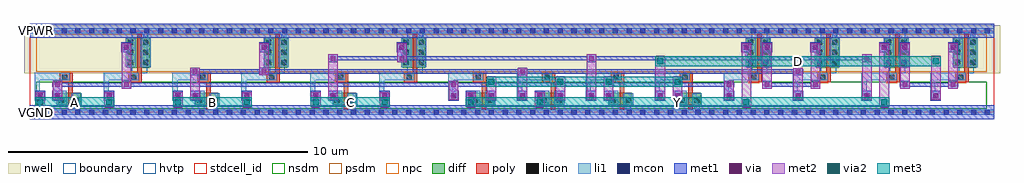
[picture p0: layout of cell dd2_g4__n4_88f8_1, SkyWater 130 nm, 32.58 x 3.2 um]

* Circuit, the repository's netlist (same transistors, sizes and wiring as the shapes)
* Generated reference circuit; dimensions in micrometers.
.subckt dd2_g4__n4_88f8_1 A B C D VGND VNB VPB VPWR Y
XM0 _net1 A VGND VNB sky130_fd_pr__nfet_01v8 w=0.420 l=0.150
XM1 _net1 A VPWR VPB sky130_fd_pr__pfet_01v8_hvt w=1.000 l=0.150
XM2 _net2 B VGND VNB sky130_fd_pr__nfet_01v8 w=0.420 l=0.150
XM3 _net2 B VPWR VPB sky130_fd_pr__pfet_01v8_hvt w=1.000 l=0.150
XM4 _net3 C VGND VNB sky130_fd_pr__nfet_01v8 w=0.420 l=0.150
XM5 _net3 C VPWR VPB sky130_fd_pr__pfet_01v8_hvt w=1.000 l=0.150
XM6 Y _net1 _net4 VNB sky130_fd_pr__nfet_01v8 w=0.420 l=0.150
XM7 Y _net2 _net4 VNB sky130_fd_pr__nfet_01v8 w=0.420 l=0.150
XM8 _net4 _net3 VGND VNB sky130_fd_pr__nfet_01v8 w=0.420 l=0.150
XM9 _net4 D VGND VNB sky130_fd_pr__nfet_01v8 w=0.420 l=0.150
XM10 Y _net1 _net5 VPB sky130_fd_pr__pfet_01v8_hvt w=1.000 l=0.150
XM11 _net5 _net2 VPWR VPB sky130_fd_pr__pfet_01v8_hvt w=1.000 l=0.150
XM12 Y _net3 _net6 VPB sky130_fd_pr__pfet_01v8_hvt w=1.000 l=0.150
XM13 _net6 D VPWR VPB sky130_fd_pr__pfet_01v8_hvt w=1.000 l=0.150
.ends dd2_g4__n4_88f8_1

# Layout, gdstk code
import gdstk
lib = gdstk.Library(unit=1e-6, precision=1e-09)
def R(c, l, rs):  # rectangles x0, y0, x1, y1
    for r in rs: c.add(gdstk.rectangle(r[:2], r[2:], *l))
def A(c, l, x, y, w, h, nx, ny, dx, dy):  # array of equal rectangles
    R(c, l, [(x+i*dx, y+j*dy, x+i*dx+w, y+j*dy+h) for i in range(nx) for j in range(ny)])
nwell = (64, 20)
diff = (65, 20)
poly = (66, 20)
licon = (66, 44)
li1 = (67, 20)
mcon = (67, 44)
met1 = (68, 20)
via = (68, 44)
met2 = (69, 20)
via2 = (69, 44)
met3 = (70, 20)
hvtp = (78, 44)
stdcell_id = (81, 4)
nsdm = (93, 44)
psdm = (94, 20)
npc = (95, 20)
boundary = (235, 4)

dd2_g4__n4_88f8_1 = lib.new_cell('dd2_g4__n4_88f8_1')
R(dd2_g4__n4_88f8_1, nwell, [(-0.19,1.305,32.39,2.91)])
A(dd2_g4__n4_88f8_1, diff, 0.95, 0.235, 0.75, 0.42, 4, 1, 4.6, 0)
A(dd2_g4__n4_88f8_1, diff, 17.05, 0.235, 0.75, 0.42, 3, 1, 2.3, 0)
A(dd2_g4__n4_88f8_1, diff, 3.25, 1.485, 0.75, 1, 3, 1, 4.6, 0)
A(dd2_g4__n4_88f8_1, diff, 23.95, 1.485, 0.75, 1, 4, 1, 2.3, 0)
A(dd2_g4__n4_88f8_1, poly, 1.29, 0.105, 0.15, 1.22, 4, 1, 4.6, 0)
A(dd2_g4__n4_88f8_1, poly, 17.39, 0.105, 0.15, 1.22, 3, 1, 2.3, 0)
A(dd2_g4__n4_88f8_1, poly, 1.01, 0.995, 0.43, 0.33, 14, 1, 2.3, 0)
A(dd2_g4__n4_88f8_1, poly, 3.59, 0.995, 0.15, 1.62, 3, 1, 4.6, 0)
A(dd2_g4__n4_88f8_1, poly, 24.29, 0.995, 0.15, 1.62, 4, 1, 2.3, 0)
A(dd2_g4__n4_88f8_1, licon, 1.09, 1.075, 0.17, 0.17, 14, 1, 2.3, 0)
A(dd2_g4__n4_88f8_1, licon, 3.29, 1.575, 0.17, 0.17, 1, 3, 0, 0.34)
A(dd2_g4__n4_88f8_1, licon, 3.79, 1.575, 0.17, 0.17, 1, 3, 0, 0.34)
A(dd2_g4__n4_88f8_1, licon, 7.89, 1.575, 0.17, 0.17, 1, 3, 0, 0.34)
A(dd2_g4__n4_88f8_1, licon, 8.39, 1.575, 0.17, 0.17, 1, 3, 0, 0.34)
A(dd2_g4__n4_88f8_1, licon, 12.49, 1.575, 0.17, 0.17, 1, 3, 0, 0.34)
A(dd2_g4__n4_88f8_1, licon, 12.99, 1.575, 0.17, 0.17, 1, 3, 0, 0.34)
A(dd2_g4__n4_88f8_1, licon, 23.99, 1.575, 0.17, 0.17, 1, 3, 0, 0.34)
A(dd2_g4__n4_88f8_1, licon, 24.49, 1.575, 0.17, 0.17, 1, 3, 0, 0.34)
A(dd2_g4__n4_88f8_1, licon, 26.29, 1.575, 0.17, 0.17, 1, 3, 0, 0.34)
A(dd2_g4__n4_88f8_1, licon, 26.79, 1.575, 0.17, 0.17, 1, 3, 0, 0.34)
A(dd2_g4__n4_88f8_1, licon, 28.59, 1.575, 0.17, 0.17, 1, 3, 0, 0.34)
A(dd2_g4__n4_88f8_1, licon, 29.09, 1.575, 0.17, 0.17, 1, 3, 0, 0.34)
A(dd2_g4__n4_88f8_1, licon, 30.89, 1.575, 0.17, 0.17, 1, 3, 0, 0.34)
A(dd2_g4__n4_88f8_1, licon, 31.39, 1.575, 0.17, 0.17, 1, 3, 0, 0.34)
R(dd2_g4__n4_88f8_1, licon, [(0.99,0.315,1.16,0.485), (1.49,0.315,1.66,0.485), (5.59,0.315,5.76,0.485), (6.09,0.315,6.26,0.485), (10.19,0.315,10.36,0.485), (10.69,0.315,10.86,0.485), (14.79,0.315,14.96,0.485), (15.29,0.315,15.46,0.485), (17.09,0.315,17.26,0.485), (17.59,0.315,17.76,0.485), (19.39,0.315,19.56,0.485), (19.89,0.315,20.06,0.485), (21.69,0.315,21.86,0.485), (22.19,0.315,22.36,0.485)])
A(dd2_g4__n4_88f8_1, li1, 1.49, -0.085, 0.17, 0.72, 3, 1, 4.6, 0)
A(dd2_g4__n4_88f8_1, li1, 0.165, 0.38, 0.17, 0.935, 14, 1, 2.3, 0)
A(dd2_g4__n4_88f8_1, li1, 0.76, 0.38, 0.48, 0.33, 4, 1, 4.6, 0)
A(dd2_g4__n4_88f8_1, li1, 16.86, 0.38, 0.48, 0.33, 3, 1, 2.3, 0)
A(dd2_g4__n4_88f8_1, li1, 23.185, 0.38, 0.33, 0.33, 4, 1, 2.3, 0)
A(dd2_g4__n4_88f8_1, li1, 0.165, 1.075, 1.175, 0.24, 14, 1, 2.3, 0)
A(dd2_g4__n4_88f8_1, li1, 3.79, 1.505, 0.17, 1.3, 3, 1, 4.6, 0)
A(dd2_g4__n4_88f8_1, li1, 3.06, 2.01, 0.33, 0.33, 3, 1, 4.6, 0)
A(dd2_g4__n4_88f8_1, li1, 3.06, 2.01, 0.48, 0.33, 3, 1, 4.6, 0)
A(dd2_g4__n4_88f8_1, li1, 23.76, 2.01, 0.48, 0.33, 4, 1, 2.3, 0)
R(dd2_g4__n4_88f8_1, li1, [(0,-0.085,32.2,0.085), (19.89,-0.085,20.06,0.635), (22.19,-0.085,22.36,0.635), (0.91,0.255,1.24,0.635), (1.41,0.255,1.74,0.635), (5.51,0.255,5.84,0.635), (6.01,0.255,6.34,0.635), (10.11,0.255,10.44,0.635), (10.61,0.255,10.94,0.635), (14.71,0.255,15.04,0.635), (15.21,0.255,15.54,0.635), (17.01,0.255,17.34,0.635), (17.51,0.255,17.84,0.635), (19.31,0.255,19.64,0.635), (19.81,0.255,20.14,0.635), (21.61,0.255,21.94,0.635), (22.11,0.255,22.44,0.635), (0.185,0.38,0.515,0.71), (0.76,0.38,1.09,0.71), (2.485,0.38,2.815,0.71), (4.785,0.38,5.115,0.71), (5.36,0.38,5.69,0.71), (7.085,0.38,7.415,0.71), (9.385,0.38,9.715,0.71), (9.96,0.38,10.29,0.71), (11.685,0.38,12.015,0.71), (13.985,0.38,14.315,0.71), (14.56,0.38,14.89,0.71), (15.21,0.38,15.58,0.71), (15.25,0.38,15.58,0.71), (16.285,0.38,16.615,0.71), (16.86,0.38,17.19,0.71), (17.51,0.38,17.88,0.71), (17.55,0.38,17.88,0.71), (18.585,0.38,18.915,0.71), (19.16,0.38,19.49,0.71), (20.885,0.38,21.215,0.71), (21.46,0.38,21.79,0.71), (3.21,1.505,3.54,2.465), (3.71,1.505,4.04,2.465), (7.81,1.505,8.14,2.465), (8.31,1.505,8.64,2.465), (12.41,1.505,12.74,2.465), (12.91,1.505,13.24,2.465), (23.91,1.505,24.24,2.465), (24.41,1.505,24.74,2.465), (26.21,1.505,26.54,2.465), (26.71,1.505,27.04,2.465), (26.79,1.505,26.96,2.805), (28.51,1.505,28.84,2.465), (29.01,1.505,29.34,2.465), (30.81,1.505,31.14,2.465), (31.31,1.505,31.64,2.465), (31.39,1.505,31.56,2.805), (23.76,2.01,24.09,2.34), (24.41,2.01,24.78,2.34), (24.45,2.01,24.78,2.34), (26.06,2.01,26.39,2.34), (28.36,2.01,28.69,2.34), (29.01,2.01,29.38,2.34), (29.05,2.01,29.38,2.34), (30.66,2.01,30.99,2.34), (0,2.635,32.2,2.805)])
A(dd2_g4__n4_88f8_1, mcon, 0.145, -0.085, 0.17, 0.17, 70, 2, 0.46, 2.72)
A(dd2_g4__n4_88f8_1, mcon, 23.265, 0.46, 0.17, 0.17, 4, 1, 2.3, 0)
A(dd2_g4__n4_88f8_1, mcon, 3.14, 2.09, 0.17, 0.17, 3, 1, 4.6, 0)
R(dd2_g4__n4_88f8_1, mcon, [(0.265,0.46,0.435,0.63), (0.84,0.46,1.01,0.63), (2.565,0.46,2.735,0.63), (4.865,0.46,5.035,0.63), (5.44,0.46,5.61,0.63), (7.165,0.46,7.335,0.63), (9.465,0.46,9.635,0.63), (10.04,0.46,10.21,0.63), (11.765,0.46,11.935,0.63), (14.065,0.46,14.235,0.63), (14.64,0.46,14.81,0.63), (15.33,0.46,15.5,0.63), (16.365,0.46,16.535,0.63), (16.94,0.46,17.11,0.63), (17.63,0.46,17.8,0.63), (18.665,0.46,18.835,0.63), (19.24,0.46,19.41,0.63), (20.965,0.46,21.135,0.63), (21.54,0.46,21.71,0.63), (23.84,2.09,24.01,2.26), (24.53,2.09,24.7,2.26), (26.14,2.09,26.31,2.26), (28.44,2.09,28.61,2.26), (29.13,2.09,29.3,2.26), (30.74,2.09,30.91,2.26)])
A(dd2_g4__n4_88f8_1, met1, 23.185, 0.38, 0.33, 0.33, 4, 1, 2.3, 0)
A(dd2_g4__n4_88f8_1, met1, 3.06, 2.01, 0.33, 0.33, 3, 1, 4.6, 0)
R(dd2_g4__n4_88f8_1, met1, [(0,-0.24,32.2,0.24), (0.185,0.38,0.515,0.71), (0.76,0.38,1.09,0.71), (2.485,0.38,2.815,0.71), (4.785,0.38,5.115,0.71), (5.36,0.38,5.69,0.71), (7.085,0.38,7.415,0.71), (9.385,0.38,9.715,0.71), (9.96,0.38,10.29,0.71), (11.685,0.38,12.015,0.71), (13.985,0.38,14.315,0.71), (14.56,0.38,14.89,0.71), (15.25,0.38,15.58,0.71), (16.285,0.38,16.615,0.71), (16.86,0.38,17.19,0.71), (17.55,0.38,17.88,0.71), (18.585,0.38,18.915,0.71), (19.16,0.38,19.49,0.71), (20.885,0.38,21.215,0.71), (21.46,0.38,21.79,0.71), (0.765,0.545,1.085,0.92), (13.99,0.545,14.31,0.92), (23.19,0.545,23.51,0.92), (0.765,0.79,1.085,1.05), (3.065,0.79,3.385,1.05), (13.99,0.79,14.31,1.05), (23.19,0.79,23.51,1.05), (24.455,0.79,24.775,1.05), (26.065,0.79,26.385,1.05), (29.055,0.79,29.375,1.05), (30.665,0.79,30.985,1.05), (0.76,0.85,23.515,0.99), (24.45,0.85,26.39,0.99), (29.05,0.85,30.99,0.99), (5.365,1.23,5.685,1.49), (7.665,1.23,7.985,1.49), (16.29,1.23,16.61,1.49), (25.49,1.23,25.81,1.49), (5.36,1.29,25.815,1.43), (9.965,1.67,10.285,1.93), (12.265,1.67,12.585,1.93), (18.59,1.67,18.91,1.93), (27.79,1.67,28.11,1.93), (9.96,1.73,28.115,1.87), (12.265,1.8,12.585,2.175), (23.76,2.01,24.09,2.34), (24.45,2.01,24.78,2.34), (26.06,2.01,26.39,2.34), (28.36,2.01,28.69,2.34), (29.05,2.01,29.38,2.34), (30.66,2.01,30.99,2.34), (0,2.48,32.2,2.96)])
A(dd2_g4__n4_88f8_1, via, 23.275, 0.47, 0.15, 0.15, 4, 1, 2.3, 0)
A(dd2_g4__n4_88f8_1, via, 3.15, 2.1, 0.15, 0.15, 3, 1, 4.6, 0)
R(dd2_g4__n4_88f8_1, via, [(0.275,0.47,0.425,0.62), (0.85,0.47,1,0.62), (2.575,0.47,2.725,0.62), (4.875,0.47,5.025,0.62), (5.45,0.47,5.6,0.62), (7.175,0.47,7.325,0.62), (9.475,0.47,9.625,0.62), (10.05,0.47,10.2,0.62), (11.775,0.47,11.925,0.62), (14.075,0.47,14.225,0.62), (14.65,0.47,14.8,0.62), (15.34,0.47,15.49,0.62), (16.375,0.47,16.525,0.62), (16.95,0.47,17.1,0.62), (17.64,0.47,17.79,0.62), (18.675,0.47,18.825,0.62), (19.25,0.47,19.4,0.62), (20.975,0.47,21.125,0.62), (21.55,0.47,21.7,0.62), (0.85,0.845,1,0.995), (3.15,0.845,3.3,0.995), (14.075,0.845,14.225,0.995), (23.275,0.845,23.425,0.995), (24.54,0.845,24.69,0.995), (26.15,0.845,26.3,0.995), (29.14,0.845,29.29,0.995), (30.75,0.845,30.9,0.995), (5.45,1.285,5.6,1.435), (7.75,1.285,7.9,1.435), (16.375,1.285,16.525,1.435), (25.575,1.285,25.725,1.435), (10.05,1.725,10.2,1.875), (12.35,1.725,12.5,1.875), (18.675,1.725,18.825,1.875), (27.875,1.725,28.025,1.875), (23.85,2.1,24,2.25), (24.54,2.1,24.69,2.25), (26.15,2.1,26.3,2.25), (28.45,2.1,28.6,2.25), (29.14,2.1,29.29,2.25), (30.75,2.1,30.9,2.25)])
A(dd2_g4__n4_88f8_1, met2, 0.21, 0.155, 0.28, 0.37, 6, 1, 2.3, 0)
A(dd2_g4__n4_88f8_1, met2, 0.19, 0.21, 0.32, 0.465, 6, 1, 2.3, 0)
A(dd2_g4__n4_88f8_1, met2, 23.19, 0.415, 0.32, 0.26, 4, 1, 2.3, 0)
A(dd2_g4__n4_88f8_1, met2, 3.065, 2.045, 0.32, 0.26, 3, 1, 4.6, 0)
R(dd2_g4__n4_88f8_1, met2, [(14.585,0.155,14.865,0.525), (16.885,0.155,17.165,0.525), (23.785,0.155,24.065,0.525), (28.385,0.155,28.665,0.525), (14.565,0.21,14.885,0.675), (16.865,0.21,17.185,0.675), (23.765,0.21,24.085,2.305), (28.365,0.21,28.685,2.305), (0.19,0.415,0.51,0.675), (0.765,0.415,1.085,0.675), (0.765,0.415,1.085,1.05), (2.49,0.415,2.81,0.675), (4.79,0.415,5.11,0.675), (5.365,0.415,5.685,0.675), (5.365,0.415,5.685,1.49), (7.09,0.415,7.41,0.675), (9.39,0.415,9.71,0.675), (9.965,0.415,10.285,0.675), (9.965,0.415,10.285,1.93), (11.69,0.415,12.01,0.675), (13.99,0.415,14.31,0.675), (13.99,0.415,14.31,1.05), (14.565,0.415,14.885,0.675), (15.255,0.415,15.575,0.675), (15.255,0.415,15.575,1.15), (16.29,0.415,16.61,0.675), (16.29,0.415,16.61,1.49), (16.865,0.415,17.185,0.675), (17.555,0.415,17.875,0.675), (17.555,0.415,17.875,1.15), (18.59,0.415,18.91,0.675), (18.59,0.415,18.91,1.93), (19.165,0.415,19.485,0.675), (19.165,0.415,19.485,1.15), (20.89,0.415,21.21,0.675), (20.89,0.415,21.21,1.83), (21.465,0.415,21.785,0.675), (21.465,0.415,21.785,1.15), (23.19,0.415,23.51,1.05), (25.49,0.415,25.81,1.49), (27.79,0.415,28.11,1.93), (30.09,0.415,30.41,1.83), (0.765,0.79,1.085,1.05), (3.065,0.79,3.385,1.05), (3.065,0.79,3.385,2.305), (13.99,0.79,14.31,1.05), (23.19,0.79,23.51,1.05), (24.455,0.79,24.775,1.05), (24.455,0.79,24.775,2.305), (26.065,0.79,26.385,1.05), (26.065,0.79,26.385,2.305), (29.055,0.79,29.375,1.05), (29.055,0.79,29.375,2.305), (30.665,0.79,30.985,1.05), (30.665,0.79,30.985,2.305), (15.275,0.835,15.555,1.205), (17.575,0.835,17.855,1.205), (19.185,0.835,19.465,1.205), (21.485,0.835,21.765,1.205), (5.365,1.23,5.685,1.49), (7.665,1.23,7.985,1.49), (7.665,1.23,7.985,2.305), (16.29,1.23,16.61,1.49), (25.49,1.23,25.81,1.49), (20.91,1.515,21.19,1.885), (30.11,1.515,30.39,1.885), (9.965,1.67,10.285,1.93), (12.265,1.67,12.585,1.93), (12.265,1.67,12.585,2.305), (18.59,1.67,18.91,1.93), (27.79,1.67,28.11,1.93), (23.765,2.045,24.085,2.305), (24.455,2.045,24.775,2.305), (26.065,2.045,26.385,2.305), (28.365,2.045,28.685,2.305), (29.055,2.045,29.375,2.305), (30.665,2.045,30.985,2.305)])
A(dd2_g4__n4_88f8_1, via2, 0.25, 0.24, 0.2, 0.2, 6, 1, 2.3, 0)
R(dd2_g4__n4_88f8_1, via2, [(14.625,0.24,14.825,0.44), (16.925,0.24,17.125,0.44), (23.825,0.24,24.025,0.44), (28.425,0.24,28.625,0.44), (15.315,0.92,15.515,1.12), (17.615,0.92,17.815,1.12), (19.225,0.92,19.425,1.12), (21.525,0.92,21.725,1.12), (20.95,1.6,21.15,1.8), (30.15,1.6,30.35,1.8)])
A(dd2_g4__n4_88f8_1, met3, 0.185, 0.175, 2.63, 0.33, 3, 1, 4.6, 0)
A(dd2_g4__n4_88f8_1, met3, 0.185, 0.175, 0.33, 0.33, 6, 1, 2.3, 0)
R(dd2_g4__n4_88f8_1, met3, [(14.56,0.175,28.69,0.505), (14.56,0.175,14.89,0.505), (16.86,0.175,17.19,0.505), (23.76,0.175,24.09,0.505), (28.36,0.175,28.69,0.505), (15.25,0.855,21.79,1.185), (15.25,0.855,15.58,1.185), (17.55,0.855,17.88,1.185), (19.16,0.855,19.49,1.185), (21.46,0.855,21.79,1.185), (20.885,1.535,30.415,1.865), (20.885,1.535,21.215,1.865), (30.085,1.535,30.415,1.865)])
A(dd2_g4__n4_88f8_1, hvtp, 3.41, 1.305, 0.51, 1.36, 3, 1, 4.6, 0)
A(dd2_g4__n4_88f8_1, hvtp, 24.11, 1.305, 0.51, 1.36, 4, 1, 2.3, 0)
R(dd2_g4__n4_88f8_1, stdcell_id, [(0,0,32.2,2.72)])
R(dd2_g4__n4_88f8_1, nsdm, [(0.215,0.11,31.955,1.01)])
R(dd2_g4__n4_88f8_1, psdm, [(0.215,1.36,31.955,2.61)])
A(dd2_g4__n4_88f8_1, npc, 0.99, 0.975, 0.37, 0.37, 14, 1, 2.3, 0)
R(dd2_g4__n4_88f8_1, boundary, [(0,0,32.2,2.72)])
dd2_g4__n4_88f8_1.add(gdstk.Label('VGND', (0.23,0), layer=68, texttype=5))
dd2_g4__n4_88f8_1.add(gdstk.Label('VPWR', (0.23,2.72), layer=68, texttype=5))
dd2_g4__n4_88f8_1.add(gdstk.Label('VPB', (0.23,2.72), layer=64, texttype=5))
dd2_g4__n4_88f8_1.add(gdstk.Label('VNB', (0.23,0), layer=64, texttype=59))
dd2_g4__n4_88f8_1.add(gdstk.Label('A', (1.5,0.34), layer=70, texttype=5))
dd2_g4__n4_88f8_1.add(gdstk.Label('B', (6.1,0.34), layer=70, texttype=5))
dd2_g4__n4_88f8_1.add(gdstk.Label('C', (10.7,0.34), layer=70, texttype=5))
dd2_g4__n4_88f8_1.add(gdstk.Label('Y', (21.625,0.34), layer=70, texttype=5))
dd2_g4__n4_88f8_1.add(gdstk.Label('D', (25.65,1.7), layer=70, texttype=5))

lib.write_gds('dd2_g4__n4_88f8_1.gds')
